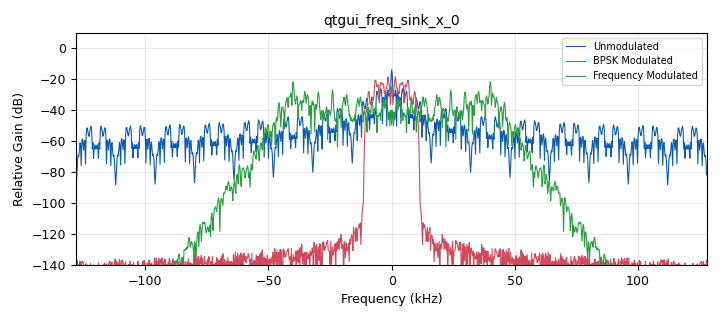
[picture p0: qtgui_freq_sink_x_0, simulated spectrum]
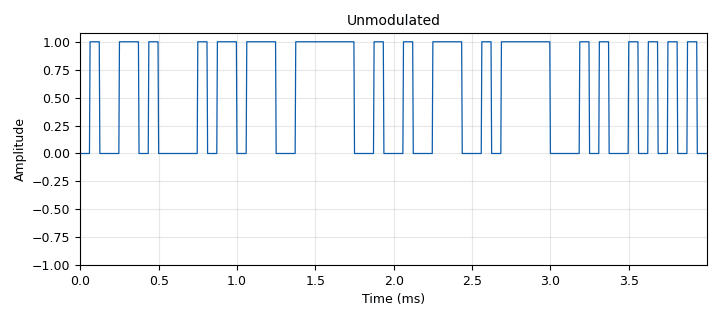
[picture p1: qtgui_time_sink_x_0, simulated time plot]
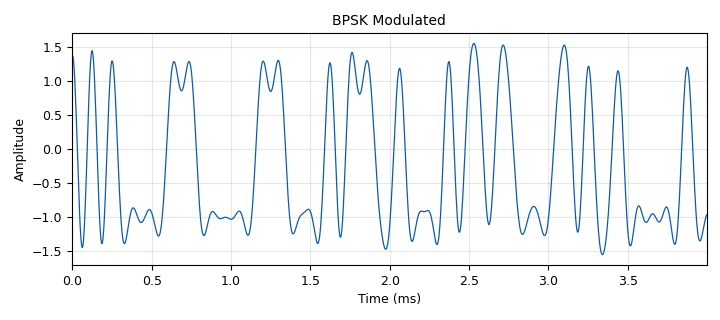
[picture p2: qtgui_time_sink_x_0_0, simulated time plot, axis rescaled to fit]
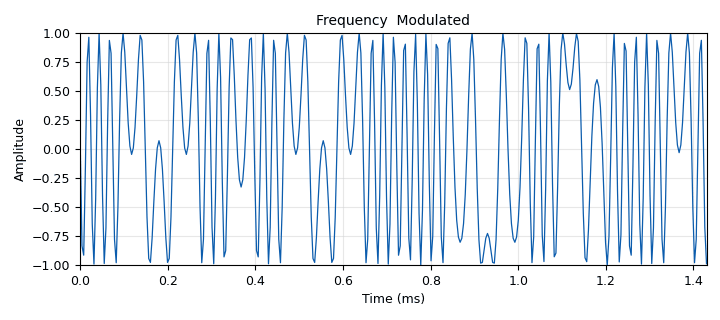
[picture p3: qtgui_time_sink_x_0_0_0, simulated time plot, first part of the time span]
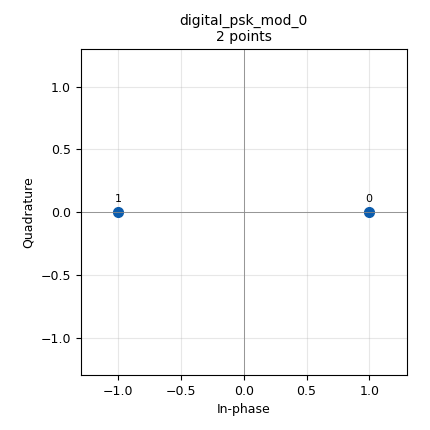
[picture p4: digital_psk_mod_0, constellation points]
options:
  parameters:
    generate_options: qt_gui
    id: top_block
    output_language: python
  states: {}

blocks:
- name: constellation
  id: variable
  parameters:
    comment: |-
      The constellation points of specific modulation.
      For example BPSK is [-1, 1]
    value: '[-1+0j, +1+0j]'
  states: {}
- name: noise
  id: variable_qtgui_range
  parameters:
    gui_hint: '[3, 0, 1, 2]'
    label: Noise Amplitude
    orient: Qt.Horizontal
    start: '0'
    step: '0.01'
    stop: '1'
    value: '0.0'
  states: {}
- name: samp_rate
  id: variable
  parameters:
    value: '256000'
  states: {}
- name: sps
  id: variable
  parameters:
    value: '16'
  states: {}
- name: analog_noise_source_x_0
  id: analog_noise_source_x
  parameters:
    amp: noise
    noise_type: analog.GR_GAUSSIAN
    seed: '0'
    type: float
  states: {}
- name: analog_random_source_x_0_0
  id: analog_random_source_x
  parameters:
    max: '255'
    min: '0'
    num_samps: '1000'
    repeat: 'True'
    type: byte
  states: {}
- name: blocks_add_xx_0
  id: blocks_add_xx
  parameters:
    type: float
  states: {}
- name: blocks_add_xx_0_0
  id: blocks_add_xx
  parameters:
    type: float
  states: {}
- name: blocks_add_xx_0_0_0
  id: blocks_add_xx
  parameters:
    type: float
  states: {}
- name: blocks_char_to_float_0
  id: blocks_char_to_float
  parameters:
    scale: '1'
  states: {}
- name: blocks_complex_to_real_0
  id: blocks_complex_to_real
  parameters:
    comment: |-
      We use the real part just to 
      simplify the visualization
  states: {}
- name: blocks_complex_to_real_0_0
  id: blocks_complex_to_real
  parameters:
    comment: |-
      We use the real part just to 
      simplify the visualization
  states: {}
- name: blocks_packed_to_unpacked_xx_0
  id: blocks_packed_to_unpacked_xx
  parameters:
    bits_per_chunk: '1'
    endianness: gr.GR_MSB_FIRST
    type: byte
  states: {}
- name: blocks_repeat_0
  id: blocks_repeat
  parameters:
    interp: sps
    type: float
  states: {}
- name: blocks_throttle_0
  id: blocks_throttle
  parameters:
    samples_per_second: samp_rate
    type: byte
  states: {}
- name: digital_gfsk_mod_0
  id: digital_gfsk_mod
  parameters:
    bt: '0.35'
    samples_per_symbol: sps
    sensitivity: '1.0'
  states: {}
- name: digital_psk_mod_0
  id: digital_psk_mod
  parameters:
    constellation_points: '2'
    differential: 'False'
    excess_bw: '0.35'
    mod_code: '"none"'
    samples_per_symbol: sps
  states: {}
- name: qtgui_freq_sink_x_0
  id: qtgui_freq_sink_x
  parameters:
    bw: samp_rate
    fc: '0'
    fftsize: '1024'
    gui_hint: '[0, 1, 3, 1]'
    label1: Unmodulated
    label2: BPSK Modulated
    label3: Frequency Modulated
    nconnections: '3'
    showports: 'True'
    type: float
    width1: '2'
    width2: '2'
    width3: '2'
    wintype: firdes.WIN_BLACKMAN_hARRIS
  states: {}
- name: qtgui_time_sink_x_0
  id: qtgui_time_sink_x
  parameters:
    gui_hint: '[0, 0]'
    label1: ''
    name: '"Unmodulated"'
    size: '1024'
    srate: samp_rate
    type: float
  states: {}
- name: qtgui_time_sink_x_0_0
  id: qtgui_time_sink_x
  parameters:
    gui_hint: '[1, 0]'
    label1: ''
    name: '"BPSK Modulated"'
    size: '1024'
    srate: samp_rate
    type: float
  states: {}
- name: qtgui_time_sink_x_0_0_0
  id: qtgui_time_sink_x
  parameters:
    gui_hint: '[2, 0]'
    label1: ''
    name: '"Frequency  Modulated"'
    size: '1024'
    srate: samp_rate
    type: float
  states: {}

connections:
- [analog_noise_source_x_0, '0', blocks_add_xx_0, '1']
- [analog_noise_source_x_0, '0', blocks_add_xx_0_0, '1']
- [analog_noise_source_x_0, '0', blocks_add_xx_0_0_0, '1']
- [analog_random_source_x_0_0, '0', blocks_packed_to_unpacked_xx_0, '0']
- [analog_random_source_x_0_0, '0', blocks_throttle_0, '0']
- [blocks_add_xx_0, '0', qtgui_freq_sink_x_0, '2']
- [blocks_add_xx_0, '0', qtgui_time_sink_x_0_0_0, '0']
- [blocks_add_xx_0_0, '0', qtgui_freq_sink_x_0, '1']
- [blocks_add_xx_0_0, '0', qtgui_time_sink_x_0_0, '0']
- [blocks_add_xx_0_0_0, '0', qtgui_freq_sink_x_0, '0']
- [blocks_add_xx_0_0_0, '0', qtgui_time_sink_x_0, '0']
- [blocks_char_to_float_0, '0', blocks_repeat_0, '0']
- [blocks_complex_to_real_0, '0', blocks_add_xx_0_0, '0']
- [blocks_complex_to_real_0_0, '0', blocks_add_xx_0, '0']
- [blocks_packed_to_unpacked_xx_0, '0', blocks_char_to_float_0, '0']
- [blocks_repeat_0, '0', blocks_add_xx_0_0_0, '0']
- [blocks_throttle_0, '0', digital_gfsk_mod_0, '0']
- [blocks_throttle_0, '0', digital_psk_mod_0, '0']
- [digital_gfsk_mod_0, '0', blocks_complex_to_real_0_0, '0']
- [digital_psk_mod_0, '0', blocks_complex_to_real_0, '0']

metadata:
  file_format: 1
